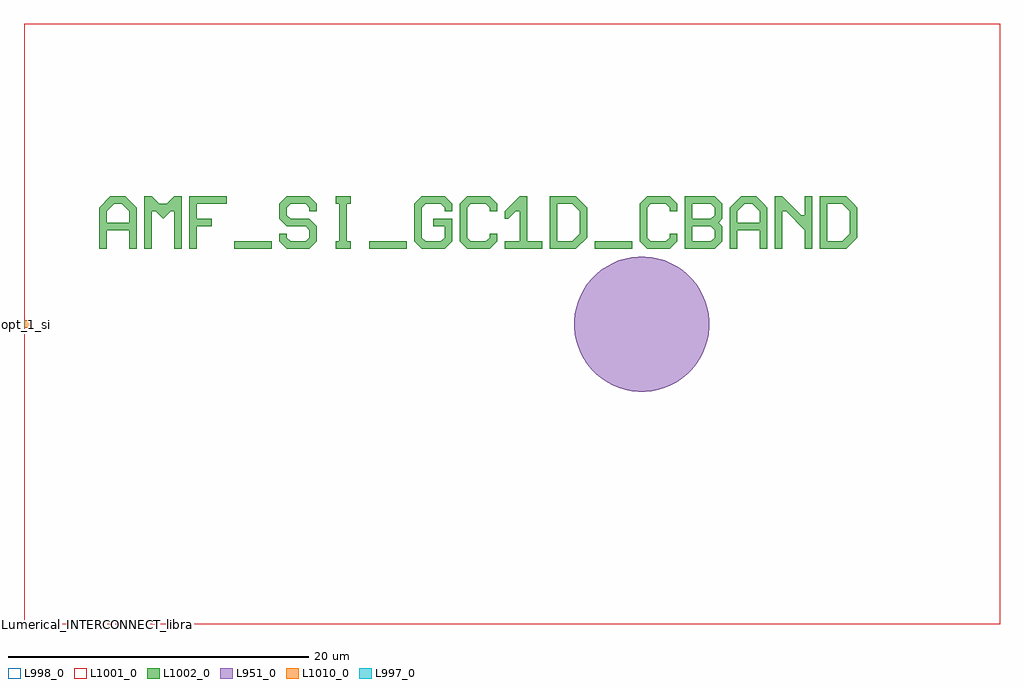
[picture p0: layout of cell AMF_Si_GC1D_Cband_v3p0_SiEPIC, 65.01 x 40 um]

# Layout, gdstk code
import gdstk
lib = gdstk.Library(unit=1e-6, precision=1e-09)
def R(c, l, rs):  # rectangles x0, y0, x1, y1
    for r in rs: c.add(gdstk.rectangle(r[:2], r[2:], *l))
def P(c, l, *ps):  # polygons
    for p in ps: c.add(gdstk.Polygon(p, *l))
L951_0 = (951, 0)
L997_0 = (997, 0)
L998_0 = (998, 0)
L1001_0 = (1001, 0)
L1002_0 = (1002, 0)
L1010_0 = (1010, 0)

amf_si_gc1d_cband_v3p0 = lib.new_cell('AMF_Si_GC1D_Cband_v3p0')
R(amf_si_gc1d_cband_v3p0, L1001_0, [(0,-20,65,20)])
R(amf_si_gc1d_cband_v3p0, L1002_0, [(14,5,16.5,5.5), (23,5,25.5,5.5), (38,5,40.5,5.5)])
P(amf_si_gc1d_cband_v3p0, L1002_0, [(5,5),(5,7.75),(5.75,8.5),(6.75,8.5),(7.25,8),(6,8),(5.5,7.5),(5.5,6.75),(7,6.75),(7,7.5),(6.5,8),(7.25,8),(7.5,7.75),(7.5,5),(7,5),(7,6.25),(5.5,6.25),(5.5,5)],
  [(8,5),(8,8.5),(8.5,8.5),(9,8),(9.5,8),(10,8.5),(10.5,8.5),(10.5,5),(10,5),(10,7.5),(9.75,7.5),(9.25,7),(8.75,7.5),(8.5,7.5),(8.5,5)],
  [(11,5),(11,8.5),(13.5,8.5),(13.5,8),(11.5,8),(11.5,7),(12.5,7),(12.5,6.5),(11.5,6.5),(11.5,5)],
  [(17.5,5),(17,5.5),(17,6),(17.5,6),(17.5,5.75),(17.75,5.5),(18.75,5.5),(19,5.75),(19,6.25),(18.75,6.5),(17.5,6.5),(17,7),(17,8),(17.5,8.5),(19,8.5),(19.5,8),(19.5,7.5),(19,7.5),(19,7.75),(18.75,8),(17.75,8),(17.5,7.75),(17.5,7.25),(17.75,7),(19,7),(19.5,6.5),(19.5,5.5),(19,5)],
  [(20.75,5),(20.75,5.5),(21,5.5),(21,8),(20.75,8),(20.75,8.5),(21.75,8.5),(21.75,8),(21.5,8),(21.5,5.5),(21.75,5.5),(21.75,5)],
  [(26.5,5),(26,5.5),(26,8),(26.5,8.5),(28,8.5),(28.5,8),(28.5,7.5),(28,7.5),(28,7.75),(27.75,8),(26.75,8),(26.5,7.75),(26.5,5.75),(26.75,5.5),(27.75,5.5),(28,5.75),(28,6.5),(27.25,6.5),(27.25,7),(28.5,7),(28.5,5.5),(28,5)],
  [(29.5,5),(29,5.5),(29,8),(29.5,8.5),(31,8.5),(31.5,8),(31.5,7.5),(31,7.5),(31,7.75),(30.75,8),(29.75,8),(29.5,7.75),(29.5,5.75),(29.75,5.5),(30.75,5.5),(31,5.75),(31,6),(31.5,6),(31.5,5.5),(31,5)],
  [(32,5),(32,5.5),(33,5.5),(33,7.5),(32.75,7.5),(32.25,7),(32,7),(32,7.5),(33,8.5),(33.5,8.5),(33.5,5.5),(34.5,5.5),(34.5,5)],
  [(35,5),(35,8.5),(36.75,8.5),(37.25,8),(35.5,8),(35.5,5.5),(36.5,5.5),(37,6),(37,7.5),(36.5,8),(37.25,8),(37.5,7.75),(37.5,5.75),(36.75,5)],
  [(41.5,5),(41,5.5),(41,8),(41.5,8.5),(43,8.5),(43.5,8),(43.5,7.5),(43,7.5),(43,7.75),(42.75,8),(41.75,8),(41.5,7.75),(41.5,5.75),(41.75,5.5),(42.75,5.5),(43,5.75),(43,6),(43.5,6),(43.5,5.5),(43,5)],
  [(44,5),(44,8.5),(46,8.5),(46.5,8),(44.5,8),(44.5,7),(45.75,7),(46,7.25),(46,7.75),(45.75,8),(46.5,8),(46.5,7),(46.25,6.75),(46.5,6.5),(44.5,6.5),(44.5,5.5),(45.75,5.5),(46,5.75),(46,6.25),(45.75,6.5),(46.5,6.5),(46.5,5.5),(46,5)],
  [(47,5),(47,7.75),(47.75,8.5),(48.75,8.5),(49.25,8),(48,8),(47.5,7.5),(47.5,6.75),(49,6.75),(49,7.5),(48.5,8),(49.25,8),(49.5,7.75),(49.5,5),(49,5),(49,6.25),(47.5,6.25),(47.5,5)],
  [(50,5),(50,8.5),(50.5,8.5),(51.75,7.25),(52,7.25),(52,8.5),(52.5,8.5),(52.5,5),(52,5),(52,6.25),(50.75,7.5),(50.5,7.5),(50.5,5)],
  [(53,5),(53,8.5),(54.75,8.5),(55.25,8),(53.5,8),(53.5,5.5),(54.5,5.5),(55,6),(55,7.5),(54.5,8),(55.25,8),(55.5,7.75),(55.5,5.75),(54.75,5)])
R(amf_si_gc1d_cband_v3p0, L1010_0, [(0,-0.25,0.5,0.25)])
amf_si_gc1d_cband_v3p0.add(gdstk.Label('opt_1_si', (0,0), layer=1010, texttype=0))

amf_si_gc1d_cband_v3p0_s = lib.new_cell('AMF_Si_GC1D_Cband_v3p0_SiEPIC')
P(amf_si_gc1d_cband_v3p0_s, L951_0, [(40.919,-4.51),(40.479,-4.467),(40.045,-4.38),(39.622,-4.252),(39.214,-4.083),(38.824,-3.874),(38.456,-3.629),(38.114,-3.348),(37.802,-3.036),(37.521,-2.694),(37.276,-2.326),(37.067,-1.936),(36.898,-1.528),(36.77,-1.105),(36.683,-0.671),(36.64,-0.231),(36.64,0.211),(36.683,0.651),(36.77,1.085),(36.898,1.508),(37.067,1.916),(37.276,2.306),(37.521,2.674),(37.802,3.016),(38.114,3.328),(38.456,3.609),(38.824,3.854),(39.214,4.063),(39.622,4.232),(40.045,4.36),(40.479,4.447),(40.919,4.49),(41.361,4.49),(41.801,4.447),(42.235,4.36),(42.658,4.232),(43.066,4.063),(43.456,3.854),(43.824,3.609),(44.166,3.328),(44.478,3.016),(44.759,2.674),(45.004,2.306),(45.213,1.916),(45.382,1.508),(45.51,1.085),(45.597,0.651),(45.64,0.211),(45.64,-0.231),(45.597,-0.671),(45.51,-1.105),(45.382,-1.528),(45.213,-1.936),(45.004,-2.326),(44.759,-2.694),(44.478,-3.036),(44.166,-3.348),(43.824,-3.629),(43.456,-3.874),(43.066,-4.083),(42.658,-4.252),(42.235,-4.38),(41.801,-4.467),(41.361,-4.51)])
R(amf_si_gc1d_cband_v3p0_s, L998_0, [(0,-20,65,20)])
amf_si_gc1d_cband_v3p0_s.add(gdstk.FlexPath([(0.01,0),(-0.01,0)], 0.5, ends="flush", simple_path=True, layer=997, datatype=0))  # L997_0
amf_si_gc1d_cband_v3p0_s.add(gdstk.Reference(amf_si_gc1d_cband_v3p0, (0,0)))
amf_si_gc1d_cband_v3p0_s.add(gdstk.Label('Lumerical_INTERCONNECT_library=Design kits/AMF_CML', (0,-20), layer=998, texttype=0))
amf_si_gc1d_cband_v3p0_s.add(gdstk.Label('Component=AMF_Si_GC1D_Cband_v3p0', (0,-19.9), layer=998, texttype=0))
amf_si_gc1d_cband_v3p0_s.add(gdstk.Label('opt_1_si', (0,0), layer=997, texttype=0))
amf_si_gc1d_cband_v3p0_s.add(gdstk.Label('opt_1_si', (0,0), layer=997, texttype=0))

lib.write_gds('AMF_Si_GC1D_Cband_v3p0_SiEPIC.gds')
